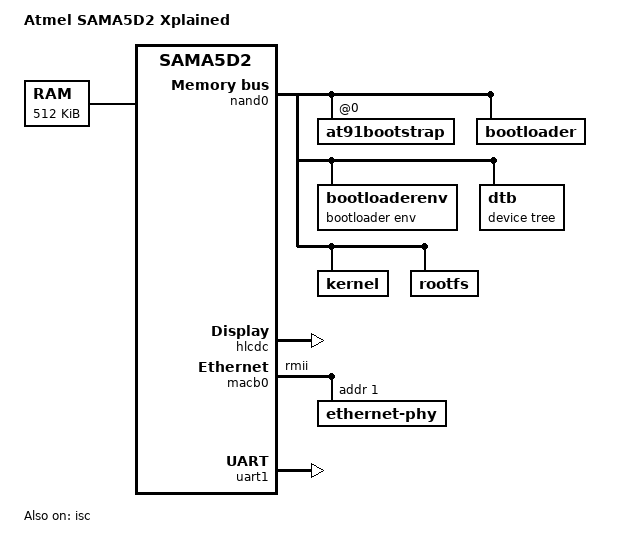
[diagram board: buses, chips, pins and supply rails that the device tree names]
/dts-v1/;
#include "sama5d2.dtsi"
#include "sama5d2-pinfunc.h"

/ {
	model = "Atmel SAMA5D2 Xplained";
	compatible = "atmel,sama5d2-avatar", "atmel,sama5d2", "atmel,sama5";

	chosen {
		u-boot,dm-pre-reloc;
		stdout-path = &uart1;
	};

	memory {
		reg = <0x20000000 0x80000>;
	};

	ahb {
		nand0: nand@80000000 {
			nand-bus-width = <8>;
			atmel,pmecc-cap = <4>;
		   atmel,pmecc-sector-size = <512>;
	      nand-on-flash-bbt;
		   atmel,has-pmecc;
	      nand-ecc-mode = "hw";
			pinctrl-names = "default";
			pinctrl-0 = <&pinctrl_nand_default>;
			status = "okay";

			at91bootstrap@0 {
				label = "at91bootstrap";
				reg = <0x0 0x40000>;
			};

			bootloader@40000 {
				label = "bootloader";
				reg = <0x40000 0x80000>;
			};

			bootloaderenv@c0000 {
				label = "bootloader env";
				reg = <0xc0000 0xc0000>;
			};

			dtb@180000 {
				label = "device tree";
				reg = <0x180000 0x80000>;
			};

			kernel@200000 {
				label = "kernel";
				reg = <0x200000 0x600000>;
			};

			rootfs@800000 {
				label = "rootfs";
				reg = <0x800000 0x0f800000>;
			};

		};

		apb {

			isc: isc@f0008000 {
				compatible = "atmel,sama5d2-isc";
				reg = <0xf0008000 0x4000>;
/*				interrupts = <46 IRQ_TYPE_LEVEL_HIGH 5>;*/
				clocks = <&isc_clk>, <&iscck>, <&isc_gclk>;
				clock-names = "hclock", "iscck", "gck";
				#clock-cells = <0>;
				clock-output-names = "isc-mck";
				pinctrl-names = "default";
				pinctrl-0 = <&pinctrl_isc_base
							&pinctrl_isc_data_8bit>;
				status = "okay";

			};

			hlcdc: hlcdc@f0000000 {
				atmel,vl-bpix = <4>;
				atmel,guard-time = <1>;
				pinctrl-names = "default";
				pinctrl-0 = <&pinctrl_lcd_base &pinctrl_lcd_rgb666>;
				status = "okay";
				u-boot,dm-pre-reloc;

				display-timings {
					u-boot,dm-pre-reloc;
					480x272 {
						clock-frequency = <9000000>;
						hactive = <480>;
						vactive = <272>;
						hsync-len = <41>;
						hfront-porch = <2>;
						hback-porch = <2>;
						vfront-porch = <2>;
						vback-porch = <2>;
						vsync-len = <11>;
						u-boot,dm-pre-reloc;
					};
				};
			};

			pmc: pmc@f0014000 {
				pmc_fast_restart {
					compatible = "atmel,sama5d2-pmc-fast-startup";
					#address-cells = <1>;
					#size-cells = <0>;

					atmel,wakeup-rtc-timer;

					wkpin: input@0 {
						reg = <0>;
					};

					gmac_wol: input@10 {
						reg = <10>;
						atmel,wakeup-active-high;
					};
				};
				gck {
					isc_gclk: isc_gclk {
						#clock-cells = <0>;
						reg = <46>;
					};
				};
			};

			macb0: ethernet@f8008000 {
				pinctrl-names = "default";
				pinctrl-0 = <&pinctrl_macb0_default &pinctrl_macb0_phy_irq>;
				phy-mode = "rmii";
				status = "okay";

				ethernet-phy@1 {
					reg = <0x1>;
				};
			};

			uart1: serial@f8020000 {
				pinctrl-names = "default";
				pinctrl-0 = <&pinctrl_uart1_default>;
				status = "okay";
				u-boot,dm-pre-reloc;
			};

			pinctrl@fc038000 {
				/*
				 * There is no real pinmux for ADC, if the pin
				 * is not requested by another peripheral then
				 * the muxing is done when channel is enabled.
				 * Requesting pins for ADC is GPIO is
				 * encouraged to prevent conflicts and to
				 * disable bias in order to be in the same
				 * state when the pin is not muxed to the adc.
				 */
				pinctrl_adc_default: adc_default {
					pinmux = <PIN_PD23__GPIO>;
					bias-disable;
				};

				pinctrl_isc_base: isc_base {
					pinmux = <PIN_PC4__ISC_PCK>,
						 <PIN_PC5__ISC_VSYNC>,
						 <PIN_PC6__ISC_HSYNC>,
						 <PIN_PC7__ISC_MCK>;
					bias-disable;
				};

				pinctrl_isc_data_8bit: isc_data_8bit {
					pinmux = <PIN_PB25__ISC_D11>,
						 <PIN_PB24__ISC_D10>,
						 <PIN_PC3__ISC_D9>,
						 <PIN_PC2__ISC_D8>,
						 <PIN_PC1__ISC_D7>,
						 <PIN_PC0__ISC_D6>,
						 <PIN_PB31__ISC_D5>,
						 <PIN_PB30__ISC_D4>;
					bias-disable;
				};
				pinctrl_can0_default: can0_default {
					pinmux = <PIN_PC10__CANTX0>,
						 <PIN_PC11__CANRX0>;
					bias-disable;
				};

				pinctrl_can1_default: can1_default {
					pinmux = <PIN_PC26__CANTX1>,
						 <PIN_PC27__CANRX1>;
					bias-disable;
				};

				pinctrl_charger_irq: charger_irq {
					pinmux = <PIN_PB7__GPIO>;
					bias-disable;
				};

				pinctrl_charger_enable: charger_enable {
					pinmux = <PIN_PB9__GPIO>;
					bias-pull-down;
				};

				pinctrl_fuel_gauge: fuel_gauge {
					pinmux = <PIN_PB26__GPIO>;
					bias-disable;
				};

				pinctrl_classd_default: classd_default {
					pinmux = <PIN_PB1__CLASSD_R0>,
						 <PIN_PB2__CLASSD_R1>,
						 <PIN_PB3__CLASSD_R2>,
						 <PIN_PB4__CLASSD_R3>;
					bias-pull-up;
				};

				pinctrl_flx1_default: flx1_default {
					pinmux = <PIN_PA24__FLEXCOM1_IO0>,
						 <PIN_PA23__FLEXCOM1_IO1>;
					bias-disable;
				};

				pinctrl_flx4_default: flx4_default {
					pinmux = <PIN_PD12__FLEXCOM4_IO0>,
						 <PIN_PD13__FLEXCOM4_IO1>;
					bias-disable;
				};

				pinctrl_i2c1_default: i2c1_default {
					pinmux = <PIN_PD4__TWD1>,
						 <PIN_PD5__TWCK1>;
					bias-disable;
				};

				pinctrl_lcd_base: pinctrl_lcd_base {
					pinmux = <PIN_PC30__LCDVSYNC>,
						 <PIN_PC31__LCDHSYNC>,
						 <PIN_PD1__LCDDEN>,
						 <PIN_PD0__LCDPCK>;
					bias-disable;
				};

				pinctrl_lcd_pwm: pinctrl_lcd_pwm {
					pinmux = <PIN_PC28__GPIO>;
					bias-disable;
				};

				pinctrl_lcd_rgb666: pinctrl_lcd_rgb666 {
					pinmux = <PIN_PC10__LCDDAT2>,
						 <PIN_PC11__LCDDAT3>,
						 <PIN_PC12__LCDDAT4>,
						 <PIN_PC13__LCDDAT5>,
						 <PIN_PC14__LCDDAT6>,
						 <PIN_PC15__LCDDAT7>,
						 <PIN_PC16__LCDDAT10>,
						 <PIN_PC17__LCDDAT11>,
						 <PIN_PC18__LCDDAT12>,
						 <PIN_PC19__LCDDAT13>,
						 <PIN_PC20__LCDDAT14>,
						 <PIN_PC21__LCDDAT15>,
						 <PIN_PC22__LCDDAT18>,
						 <PIN_PC23__LCDDAT19>,
						 <PIN_PC24__LCDDAT20>,
						 <PIN_PC25__LCDDAT21>,
						 <PIN_PC26__LCDDAT22>,
						 <PIN_PC27__LCDDAT23>;
					bias-disable;
				};

				pinctrl_spi_gpio_default: spi_gpio_default {
					pinmux = <PIN_PA26__GPIO>,
						 <PIN_PB12__GPIO>,
						 <PIN_PB29__GPIO>;
					bias-pull-up;
				};

				pinctrl_macb0_default: macb0_default {
					pinmux = <PIN_PB14__GTXCK>,
						 <PIN_PB15__GTXEN>,
						 <PIN_PB16__GRXDV>,
						 <PIN_PB17__GRXER>,
						 <PIN_PB18__GRX0>,
						 <PIN_PB19__GRX1>,
						 <PIN_PB20__GTX0>,
						 <PIN_PB21__GTX1>,
						 <PIN_PB22__GMDC>,
						 <PIN_PB23__GMDIO>;
					bias-disable;
				};

				pinctrl_macb0_phy_irq: macb0_phy_irq {
					pinmux = <PIN_PC9__GPIO>;
					bias-disable;
				};

				pinctrl_nand_default: nand_default {
					pinmux = <PIN_PA8__NWE_NANDWE>,
						 <PIN_PA9__NCS3>,
						 <PIN_PA10__A21_NANDALE>,
						 <PIN_PA11__A22_NANDCLE>,
						 <PIN_PA12__NRD_NANDOE>,
						 <PIN_PA0__D0>,
						 <PIN_PA1__D1>,
						 <PIN_PA2__D2>,
						 <PIN_PA3__D3>,
						 <PIN_PA4__D4>,
						 <PIN_PA5__D5>,
						 <PIN_PA6__D6>,
						 <PIN_PA7__D7>,
						 <PIN_PC8__NANDRDY>;
						 /*<PIN_PA21__NANDRDY>;*/
					bias-disable;
				};

				pinctrl_sdmmc1_default: sdmmc1_default {
					cmd_data {
						pinmux = <PIN_PA28__SDMMC1_CMD>,
							 <PIN_PA18__SDMMC1_DAT0>,
							 <PIN_PA19__SDMMC1_DAT1>,
							 <PIN_PA20__SDMMC1_DAT2>,
							 <PIN_PA21__SDMMC1_DAT3>;
						bias-pull-up;
					};

					conf-ck_cd {
						pinmux = <PIN_PA22__SDMMC1_CK>,
							 <PIN_PA30__SDMMC1_CD>;
						bias-disable;
					};
				};

				pinctrl_uart1_default: uart1_default {
					pinmux = <PIN_PD2__URXD1>,
						 <PIN_PD3__UTXD1>;
					bias-disable;
				};

				pinctrl_gpio_buttons: gpio_buttons {
					pinmux = <PIN_PA31__GPIO>,
						 <PIN_PD11__GPIO>;
					bias-disable;
				};
			};
		};
	};
};
